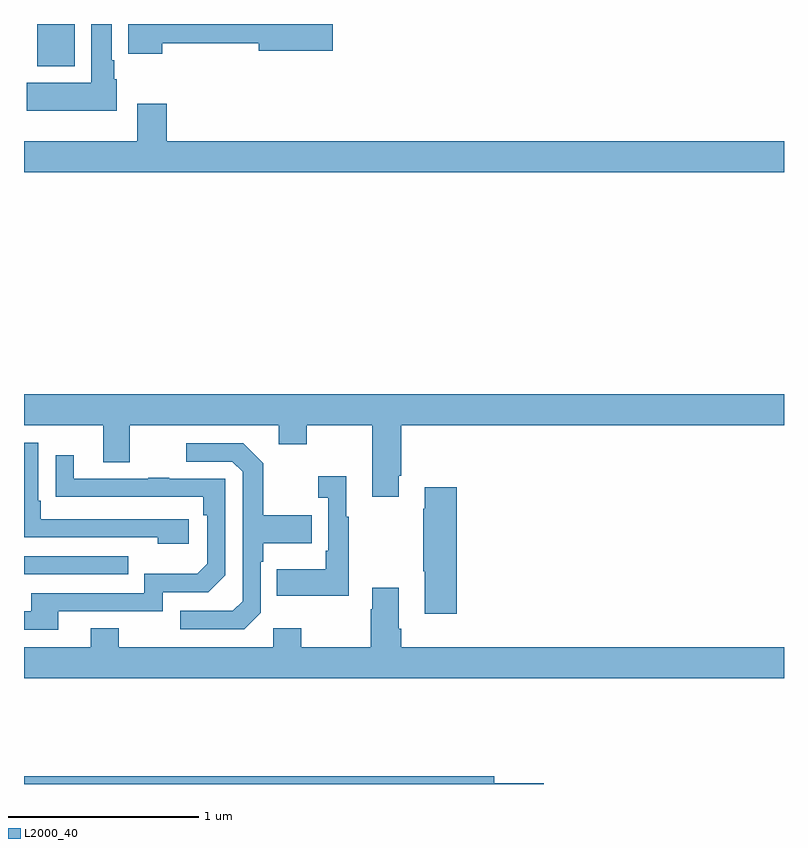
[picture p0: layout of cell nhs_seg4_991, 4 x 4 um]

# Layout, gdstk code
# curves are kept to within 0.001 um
import gdstk
lib = gdstk.Library(unit=1e-6, precision=1e-09)
def R(c, l, rs):  # rectangles x0, y0, x1, y1
    for r in rs: c.add(gdstk.rectangle(r[:2], r[2:], *l))
def P(c, l, *ps):  # polygons
    for p in ps: c.add(gdstk.Polygon(p, *l))
L2000_40 = (2000, 40)

nhs_seg4_991 = lib.new_cell('nhs_seg4_991')
R(nhs_seg4_991, L2000_40, [(161,828.003,161.549,828.099), (161.069,830.678,161.266,830.9)])
P(nhs_seg4_991, L2000_40, [(161.728,830.8),(162.236,830.8),(162.236,830.758),(162.625,830.758),(162.625,830.9),(161.549,830.9),(161.549,830.744),(161.728,830.744)],
  [(161.488,830.61),(161.476,830.61),(161.476,830.71),(161.461,830.71),(161.461,830.9),(161.354,830.9),(161.354,830.59),(161.015,830.59),(161.015,830.444),(161.488,830.444)],
  [(165,830.284),(161.75,830.284),(161.75,830.479),(161.597,830.479),(161.597,830.284),(161,830.284),(161,830.12),(165,830.12)],
  [(161,828.788),(161.417,828.788),(161.417,828.594),(161.557,828.594),(161.557,828.788),(162.341,828.788),(162.341,828.689),(162.489,828.689),(162.489,828.788),(162.833,828.788),(162.833,828.411),(162.973,828.411),(162.973,828.523),(162.986,828.523),(162.986,828.788),(165,828.788),(165,828.952),(161,828.952)],
  [(161.866,828.294),(161.089,828.294),(161.089,828.391),(161.076,828.391),(161.076,828.696),(161,828.696),(161,828.198),(161.705,828.198),(161.705,828.164),(161.866,828.164)],
  [(162.246,827.802),(162.246,828.071),(162.259,828.071),(162.259,828.167),(162.515,828.167),(162.515,828.315),(162.259,828.315),(162.259,828.587),(162.153,828.693),(161.853,828.693),(161.853,828.597),(162.096,828.597),(162.15,828.543),(162.15,827.862),(162.099,827.811),(161.823,827.811),(161.823,827.715),(162.159,827.715)],
  [(161.179,827.808),(161.73,827.808),(161.73,827.91),(161.97,827.91),(162.06,828),(162.06,828.507),(161.765,828.507),(161.765,828.512),(161.653,828.512),(161.653,828.507),(161.263,828.507),(161.263,828.631),(161.167,828.631),(161.167,828.412),(161.944,828.411),(161.944,828.314),(161.964,828.314),(161.964,828.06),(161.911,828.007),(161.634,828.007),(161.634,827.904),(161.039,827.904),(161.039,827.808),(161,827.808),(161,827.712),(161.179,827.712)],
  [(162.709,828.307),(162.697,828.307),(162.697,828.52),(162.549,828.52),(162.549,828.407),(162.6,828.407),(162.6,828.127),(162.588,828.127),(162.588,828.031),(162.331,828.031),(162.331,827.891),(162.709,827.891)],
  [(163.277,828.463),(163.109,828.463),(163.109,828.35),(163.102,828.35),(163.102,828.019),(163.109,828.019),(163.109,827.796),(163.277,827.796)],
  [(165,827.62),(162.986,827.62),(162.986,827.716),(162.973,827.716),(162.973,827.932),(162.833,827.932),(162.833,827.819),(162.826,827.819),(162.826,827.62),(162.459,827.62),(162.459,827.719),(162.312,827.719),(162.312,827.62),(161.499,827.62),(161.499,827.719),(161.351,827.719),(161.351,827.62),(161,827.62),(161,827.456),(165,827.456)],
  [(163.735,826.904),(163.474,826.904),(163.474,826.94),(161,826.94),(161,826.9),(163.735,826.9)])

lib.write_gds('nhs_seg4_991.gds')
